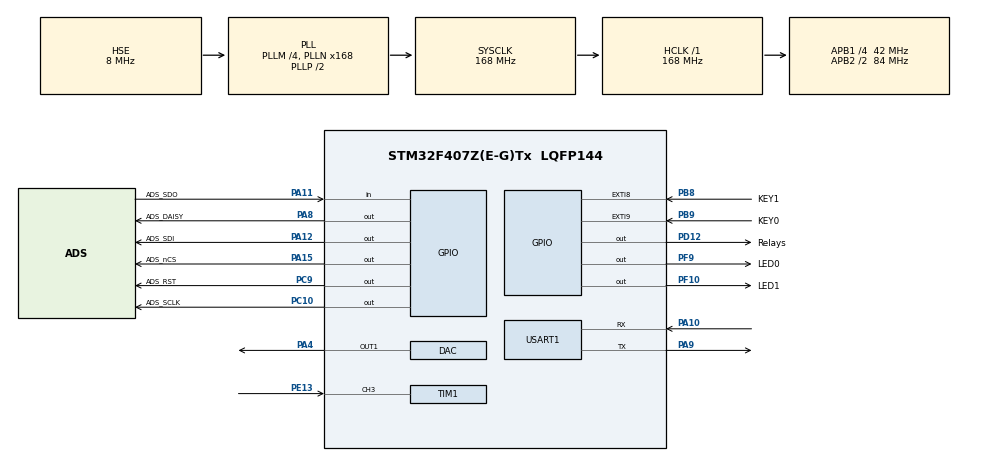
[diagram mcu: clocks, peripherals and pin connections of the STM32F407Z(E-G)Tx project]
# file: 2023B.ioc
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DAC.DAC_Trigger=DAC_TRIGGER_SOFTWARE
Mcu.Family=STM32F4
Mcu.Name=STM32F407Z(E-G)Tx
Mcu.Package=LQFP144
NVIC.PriorityGroup=NVIC_PRIORITYGROUP_4
NVIC.TIM1_CC_IRQn=true\:0\:0\:false\:false\:true\:true\:true\:true
PA10.Mode=Asynchronous
PA10.Signal=USART1_RX
PA11.GPIO_Label=ADS_SDO
PA11.Signal=GPIO_Input
PA12.GPIO_Label=ADS_SDI
PA12.Signal=GPIO_Output
PA13.Mode=Serial_Wire
PA13.Signal=SYS_JTMS-SWDIO
PA14.Mode=Serial_Wire
PA14.Signal=SYS_JTCK-SWCLK
PA15.GPIO_Label=ADS_nCS
PA15.Signal=GPIO_Output
PA4.Signal=COMP_DAC1_group
PA8.GPIO_Label=ADS_DAISY
PA8.Signal=GPIO_Output
PA9.Mode=Asynchronous
PA9.Signal=USART1_TX
PB8.GPIO_Label=KEY1
PB8.GPIO_ModeDefaultEXTI=GPIO_MODE_IT_FALLING
PB8.GPIO_PuPd=GPIO_PULLUP
PB8.Signal=GPXTI8
PB9.GPIO_Label=KEY0
PB9.GPIO_ModeDefaultEXTI=GPIO_MODE_IT_FALLING
PB9.GPIO_PuPd=GPIO_PULLUP
PB9.Signal=GPXTI9
PC10.GPIO_Label=ADS_SCLK
PC10.Signal=GPIO_Output
PC9.GPIO_Label=ADS_RST
PC9.Signal=GPIO_Output
PD12.GPIO_Label=Relays
PD12.Signal=GPIO_Output
PE13.Signal=S_TIM1_CH3
PF10.GPIO_Label=LED1
PF10.GPIO_PuPd=GPIO_PULLUP
PF10.GPIO_Speed=GPIO_SPEED_FREQ_HIGH
PF10.PinState=GPIO_PIN_SET
PF10.Signal=GPIO_Output
PF9.GPIO_Label=LED0
PF9.GPIO_PuPd=GPIO_PULLUP
PF9.GPIO_Speed=GPIO_SPEED_FREQ_HIGH
PF9.PinState=GPIO_PIN_SET
PF9.Signal=GPIO_Output
PH0-OSC_IN.Mode=HSE-External-Oscillator
PH0-OSC_IN.Signal=RCC_OSC_IN
PH1-OSC_OUT.Mode=HSE-External-Oscillator
PH1-OSC_OUT.Signal=RCC_OSC_OUT
ProjectManager.HeapSize=0x200
ProjectManager.StackSize=0x400
ProjectManager.TargetToolchain=STM32CubeIDE
RCC.48MHZClocksFreq_Value=84000000
RCC.AHBFreq_Value=168000000
RCC.APB1CLKDivider=RCC_HCLK_DIV4
RCC.APB1Freq_Value=42000000
RCC.APB1TimFreq_Value=84000000
RCC.APB2CLKDivider=RCC_HCLK_DIV2
RCC.APB2Freq_Value=84000000
RCC.APB2TimFreq_Value=168000000
RCC.CortexFreq_Value=168000000
RCC.HCLKFreq_Value=168000000
RCC.HSE_VALUE=8000000
RCC.HSI_VALUE=16000000
RCC.LSE_VALUE=32768
RCC.PLLM=4
RCC.PLLN=168
RCC.PLLSourceVirtual=RCC_PLLSOURCE_HSE
RCC.SYSCLKFreq_VALUE=168000000
RCC.SYSCLKSource=RCC_SYSCLKSOURCE_PLLCLK
RCC.VCOOutputFreq_Value=336000000
SH.COMP_DAC1_group.0=DAC_OUT1,DAC_OUT1
SH.S_TIM1_CH3.0=TIM1_CH3,Input_Capture3_from_TI3
TIM1.Channel-Input_Capture3_from_TI3=TIM_CHANNEL_3
TIM1.Prescaler=2-1
TIM3.Period=1
TIM3.Prescaler=9
TIM3.TIM_MasterOutputTrigger=TIM_TRGO_UPDATE
USART1.VirtualMode=VM_ASYNC
VP_TIM1_VS_ClockSourceINT.Mode=Internal
VP_TIM3_VS_ClockSourceINT.Mode=Internal
board=custom

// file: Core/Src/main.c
/* USER CODE BEGIN Header */
/**
 ******************************************************************************
 * @file           : main.c
 * @brief          : Main program body
 ******************************************************************************
 * @attention
 *
 * Copyright (c) 2023 STMicroelectronics.
 * All rights reserved.
 *
 * This software is licensed under terms that can be found in the LICENSE file
 * in the root directory of this software component.
 * If no LICENSE file comes with this software, it is provided AS-IS.
 *
 ******************************************************************************
 */
/* USER CODE END Header */
#include "main.h"
#include "dac.h"
#include "tim.h"
#include "usart.h"
#include "gpio.h"

/* USER CODE BEGIN Includes */
#include <stdio.h>
#include "math.h"
#include "arm_math.h"
#include "ADS8688.h"
/* USER CODE END Includes */

/* USER CODE BEGIN PD */
//定义判断状态标志位
#define open_flag 0
#define c_flag 1
#define r_flag 2

//定义连接负载板电容
#define add_C 1.9

//定义基础开路震荡频率
#define basic_freq 132e3

//乘积和振荡频率的一次函数关系
#define freq_slope -0.465
#define freq_intercept 60.803

//线缆等效电容线密度
#define line_density_slope 46.167
#define line_density_intercept 18.992

//定义分压测量电阻的串联已知电阻
#define Rs 20.5
/* USER CODE END PD */

/* USER CODE BEGIN PV */
int time[3];
int i = 0;
int flag = 1;

//定义第一次测量电路频率
double freq = 0;
//定义第一次测量的乘积=线长*振荡频率
double sum = 0;
//定义第一次测量线长
double length = 0;
//定义第一次测量电缆的电容值
double C = 0;

//定义接入负载后的振荡频率
double connect_freq = 0;

double R_vol = 0;
//负载类型判断
int type = 0;
/* USER CODE END PV */

void SystemClock_Config(void);
/* USER CODE BEGIN PFP */
//判断负载类型
int judge_type(float connect_freq);

//第一次计算电缆长度
void calculate_length();

//第二次计算
void recalculate();
/* USER CODE END PFP */

/* USER CODE BEGIN 0 */

void HAL_TIM_IC_CaptureCallback(TIM_HandleTypeDef *htim)
{
//	__HAL_TIM_SET_COUNTER(&htim1,0);

	if(i==0)
	{
		time[i] = HAL_TIM_ReadCapturedValue(&htim1, TIM_CHANNEL_3);
		i++;
	}
	else if(i==1)
	{
		time[i] = HAL_TIM_ReadCapturedValue(&htim1, TIM_CHANNEL_3);
		i++;
	}
	else
	{
		return;
	}

}
/* USER CODE END 0 */

int main(void)
{

  /* MCU Configuration--------------------------------------------------------*/

  /* Reset of all peripherals, Initializes the Flash interface and the Systick. */
  HAL_Init();

  /* Configure the system clock */
  SystemClock_Config();

  /* Initialize all configured peripherals */
  MX_GPIO_Init();
  MX_USART1_UART_Init();
  MX_DAC_Init();
  MX_TIM3_Init();
  MX_TIM1_Init();
  /* USER CODE BEGIN 2 */
  //初始化ADS8688
  ADS8688_Init_Mult();

  //初始化定时器一些参数
  HAL_TIM_Base_Start(&htim1);
  HAL_TIM_IC_Start_IT(&htim1, TIM_CHANNEL_3);
  __HAL_TIM_SET_COUNTER(&htim1,0);

  //初始化继电器
  HAL_GPIO_WritePin(Relays_GPIO_Port, Relays_Pin, RESET);

  /* USER CODE END 2 */

  /* Infinite loop */
  /* USER CODE BEGIN WHILE */
  //适当延时，使输入捕获频率测量完毕
  HAL_Delay(1000);
  //计算第一次的参数：freq,C,length
  calculate_length();

  HAL_Delay(1000);

  //进行第二次计算
  recalculate();
  //进行负载判断
  type = judge_type(connect_freq);

  if(type == c_flag)
  {
	  //计算连接后的乘积
	  double sum_connect = (-0.4052)*connect_freq/1000+60.846;
	  //计算连接后的等效电缆长度
	  double length_connect = sum_connect/(connect_freq/1000);
	  //根据电缆电容线密度，由等效长度算出等效电容大小
	  double C_connect = length_connect*line_density_slope+line_density_intercept;
	  //算出来的C不对，需要拟合得出正确的结果
	  double real_c = 2.0755*(C_connect-C-add_C)+8.7644;
	  printf("newC=%f\r\n",real_c);
  }
  else if(type == r_flag)
  {
	 //写后续切换继电器操作
  	 HAL_GPIO_WritePin(Relays_GPIO_Port, Relays_Pin, SET);
  	 HAL_Delay(100);

  	 //分压法测电阻阻值，用8688采集电压更准确
  	 R_vol = get_vol(1);
	 printf("R_vol=%f\r\n",R_vol);

 	 double R = (R_vol*Rs)/(5-R_vol);
 	 printf("R=%f\r\n",R);
  }
  else
  {
	  //开路，什么也不操作
  }

    while (1)
  {

  }

    /* USER CODE END WHILE */

}

void SystemClock_Config(void)
{
  RCC_OscInitTypeDef RCC_OscInitStruct = {0};
  RCC_ClkInitTypeDef RCC_ClkInitStruct = {0};

  /** Configure the main internal regulator output voltage
  */
  __HAL_RCC_PWR_CLK_ENABLE();
  __HAL_PWR_VOLTAGESCALING_CONFIG(PWR_REGULATOR_VOLTAGE_SCALE1);

  /** Initializes the RCC Oscillators according to the specified parameters
  * in the RCC_OscInitTypeDef structure.
  */
  RCC_OscInitStruct.OscillatorType = RCC_OSCILLATORTYPE_HSE;
  RCC_OscInitStruct.HSEState = RCC_HSE_ON;
  RCC_OscInitStruct.PLL.PLLState = RCC_PLL_ON;
  RCC_OscInitStruct.PLL.PLLSource = RCC_PLLSOURCE_HSE;
  RCC_OscInitStruct.PLL.PLLM = 4;
  RCC_OscInitStruct.PLL.PLLN = 168;
  RCC_OscInitStruct.PLL.PLLP = RCC_PLLP_DIV2;
  RCC_OscInitStruct.PLL.PLLQ = 4;
  if (HAL_RCC_OscConfig(&RCC_OscInitStruct) != HAL_OK)
  {
    Error_Handler();
  }

  /** Initializes the CPU, AHB and APB buses clocks
  */
  RCC_ClkInitStruct.ClockType = RCC_CLOCKTYPE_HCLK|RCC_CLOCKTYPE_SYSCLK
                              |RCC_CLOCKTYPE_PCLK1|RCC_CLOCKTYPE_PCLK2;
  RCC_ClkInitStruct.SYSCLKSource = RCC_SYSCLKSOURCE_PLLCLK;
  RCC_ClkInitStruct.AHBCLKDivider = RCC_SYSCLK_DIV1;
  RCC_ClkInitStruct.APB1CLKDivider = RCC_HCLK_DIV4;
  RCC_ClkInitStruct.APB2CLKDivider = RCC_HCLK_DIV2;

  if (HAL_RCC_ClockConfig(&RCC_ClkInitStruct, FLASH_LATENCY_5) != HAL_OK)
  {
    Error_Handler();
  }
}

/* USER CODE BEGIN 4 */
int judge_type(float connect_freq)
{
	//如果不震荡了，那就是接入了电阻
	if(connect_freq == 0)
	{
		return r_flag;
	}
	//如果频率和开路的基本频率基本一样，那么就是开路，这个容忍度是40kHz
	else if((basic_freq-connect_freq)<40e3)
	{
		return open_flag;
	}
	//否则就是电容接入
	else
	{
		return c_flag;
	}
}

void calculate_length()
{
	//第一次计算，算出振荡频率、线长和等效电容
	time[2]=time[1]-time[0];
	printf("%d\r\n",time[2]);
	freq= (84*1000000)/time[2];
	printf("freq=%f k\r\n",freq/1000);
	sum = freq_slope*freq/1000+freq_intercept;
	length = sum/(freq/1000);
	printf("length=%f\r\n",length);
	C = length*46.167+18.992;
	printf("C=%f\r\n",C);
}

void recalculate()
{
	//第二次计算，考虑到可能不震荡从而触发不了输入捕获，先把两个time置零
	time[1] = time[0] = 0;
	i = 0;
	__HAL_TIM_SET_COUNTER(&htim1,0);
	HAL_Delay(1000);
	time[2]=time[1]-time[0];

	//如果算出来是0，那说明没有触发输入捕获，这样就说明没有震荡，接入了电阻
	if(time[2] == 0)
	{
		connect_freq = 0;
		printf("电阻");
	}
	//触发了输入捕获就是开路或者接入电容，可以算出来振荡频率
	else
	{
		connect_freq= (84*1000000)/time[2];
	}
}

/* USER CODE END 4 */

void Error_Handler(void)
{
    __disable_irq();
    while (1) {
    }
}
